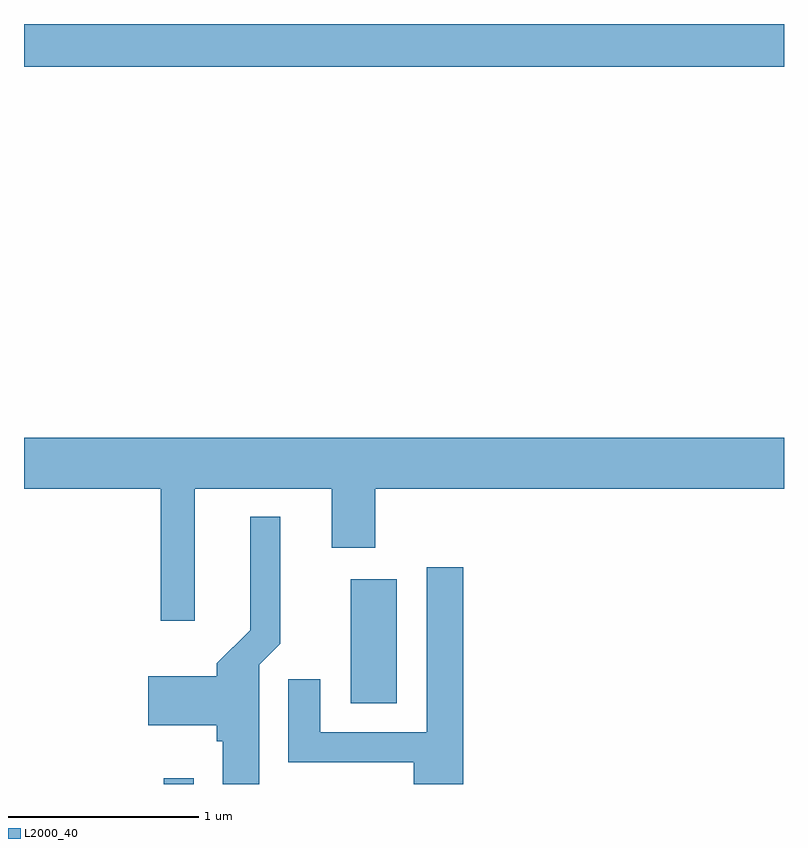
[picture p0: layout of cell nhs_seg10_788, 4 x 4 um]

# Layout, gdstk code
import gdstk
lib = gdstk.Library(unit=1e-6, precision=1e-09)
def R(c, l, rs):  # rectangles x0, y0, x1, y1
    for r in rs: c.add(gdstk.rectangle(r[:2], r[2:], *l))
def P(c, l, *ps):  # polygons
    for p in ps: c.add(gdstk.Polygon(p, *l))
L2000_40 = (2000, 40)

nhs_seg10_788 = lib.new_cell('nhs_seg10_788')
R(nhs_seg10_788, L2000_40, [(208.346,2174.522,208.504,2174.553), (209.331,2174.946,209.574,2175.599), (207.611,2178.296,211.611,2178.522)])
P(nhs_seg10_788, L2000_40, [(208.509,2176.076),(209.231,2176.076),(209.231,2175.766),(209.459,2175.766),(209.459,2176.076),(211.611,2176.076),(211.611,2176.344),(207.611,2176.344),(207.611,2176.076),(208.331,2176.076),(208.331,2175.381),(208.509,2175.381)],
  [(208.849,2175.149),(208.959,2175.259),(208.959,2175.928),(208.801,2175.928),(208.801,2175.332),(208.626,2175.157),(208.626,2175.089),(208.266,2175.089),(208.266,2174.831),(208.626,2174.831),(208.626,2174.746),(208.656,2174.746),(208.656,2174.522),(208.849,2174.522)],
  [(209.924,2175.664),(209.731,2175.664),(209.731,2174.794),(209.169,2174.794),(209.169,2175.073),(209.001,2175.073),(209.001,2174.636),(209.661,2174.636),(209.661,2174.522),(209.924,2174.522)])

lib.write_gds('nhs_seg10_788.gds')
